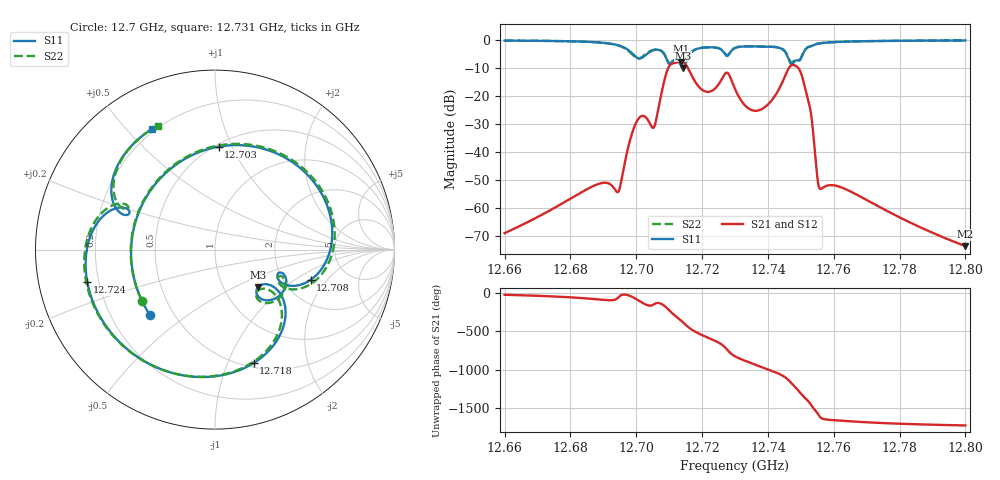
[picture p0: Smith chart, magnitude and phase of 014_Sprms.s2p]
! TOUCHSTONE file generated by CST MICROWAVE STUDIO
! Date and time: Wed Jul 31 11:18:12 2024
! Project name: WaveGuide_BPF-Ver4.1_U-shape_Ku_T3_C4_CWA_2.cst
! Parameters = {cavity_h=16; cavity_l0=10; cavity_l1=15.2212; cavity_l2=16.8621; cavity_l3=17.1461; cavity_l4=17.2364; cavity_l5=17.165; cavity_l6=17.5804; cavity_r=2.5; cavity_screw_l=0.5; cavity_screw_r=1.5; cavity_w=8; iris_h00=0; iris_h01=8.8071; iris_h112=0; iris_h12=5.6123; iris_h211=3.6561; i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
! Header version: 2018
! Port assignment regex: !\s*Touchstone port\s*([0-9]+)\s*=\s*(CST MWS port|CST DS port)\s*([0-9]+|Zmin|Zmax)\s*\(\"(.*)\"\)(\s*mode\s*([0-9]+))?.*
! Touchstone port assignment:
! Touchstone port 1 = CST MWS port 1 ("")
! Touchstone port 2 = CST MWS port 2 ("")
# GHz S RI R 50
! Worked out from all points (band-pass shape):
!   5001 points, 12.66 GHz to 12.8 GHz, reference 50 ohm
!   highest |S21| = -7.68 dB at 12.714 GHz (marker M1); lowest = -73.6 dB at 12.8 GHz (marker M2)
!   |S21| within 3 dB of the highest: 12.70946 GHz to 12.716 GHz (6.537 MHz wide, 0.0514 % of centre); 12.74603 GHz to 12.74963 GHz (3.604 MHz wide, 0.0283 % of centre)
!   lowest |S11| = -9.9 dB at 12.714 GHz (marker M3), VSWR 1.93, Z = 72.3 - j33.6 ohm
!   |S11| at or under -10 dB: nowhere
!   |S22| runs from -9.6 to -0.1 dB; largest |S21 - S12| = 1e-09
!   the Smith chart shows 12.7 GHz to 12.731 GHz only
!   S11 on the Smith chart (normalised r, x): 12.7 GHz: 0.37, -0.37; 12.703 GHz: 0.52, +0.89; 12.708 GHz: 2.79, -1.37; 12.718 GHz: 0.54, -1.24; 12.724 GHz: 0.16, -0.12; 12.731 GHz: 0.19, +0.59
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12.66  0.3897 0.8968  0.000317 -0.000167  0.000317 -0.000167  0.3879 0.8974
12.68335  0.8458 0.4076  0.000654 -0.00181  0.000654 -0.00181  0.8475 0.4019
12.6945  0.662 -0.462  0.000844 -0.00175  0.000844 -0.00175  0.6333 -0.4855
12.69965  -0.3621 -0.3647  0.00758 -0.0296  0.00758 -0.0296  -0.4081 -0.284
12.7034  0.0198 0.5734  -0.0369 -0.0113  -0.0369 -0.0113  0.0931 0.5885
12.70668  0.6426 0.1863  -0.0404 -0.0416  -0.0404 -0.0416  0.6616 0.1524
12.7085  0.5328 -0.1686  -0.1827 -0.0337  -0.1827 -0.0337  0.5332 -0.1921
12.71116  0.3944 -0.1582  0.0411 0.3819  0.0411 0.3819  0.3921 -0.1786
12.71362  0.2359 -0.2542  0.4121 -0.025  0.4121 -0.025  0.2338 -0.2703
12.71421  0.2397 -0.2092  0.3627 -0.1816  0.3627 -0.1816  0.2389 -0.2298
12.71774  0.2148 -0.6324  -0.1504 -0.1112  -0.1504 -0.1112  0.175 -0.6483
12.72398  -0.7118 -0.1791  -0.0074 0.137  -0.0074 0.137  -0.7231 -0.1481
12.73  -0.5366 0.4801  -0.0407 -0.1279  -0.0407 -0.1279  -0.5149 0.5113
12.73148  -0.3487 0.6727  -0.0676 -0.0598  -0.0676 -0.0598  -0.3189 0.6913
12.73972  0.7576 0.0783  0.00318 0.0681  0.00318 0.0681  0.7627 0.0607
12.74411  0.3824 -0.5861  0.1611 0.0262  0.1611 0.0262  0.3871 -0.5929
12.74809  0.1567 -0.3868  -0.2656 -0.2335  -0.2656 -0.2335  0.1459 -0.4097
12.75019  0.2339 -0.4295  -0.1228 0.2108  -0.1228 0.2108  0.222 -0.449
12.75335  0.0241 -0.7828  0.031 -0.0204  0.031 -0.0204  0.0046 -0.7864
12.75593  -0.2539 -0.8389  -0.0022 -1.16e-06  -0.0022 -1.16e-06  -0.2693 -0.8365
12.77668  -0.9574 -0.1248  -0.000175 0.000844  -0.000175 0.000844  -0.9581 -0.1225
12.8  -0.9275 0.325  5.85e-05 0.000201  5.85e-05 0.000201  -0.9279 0.3243
